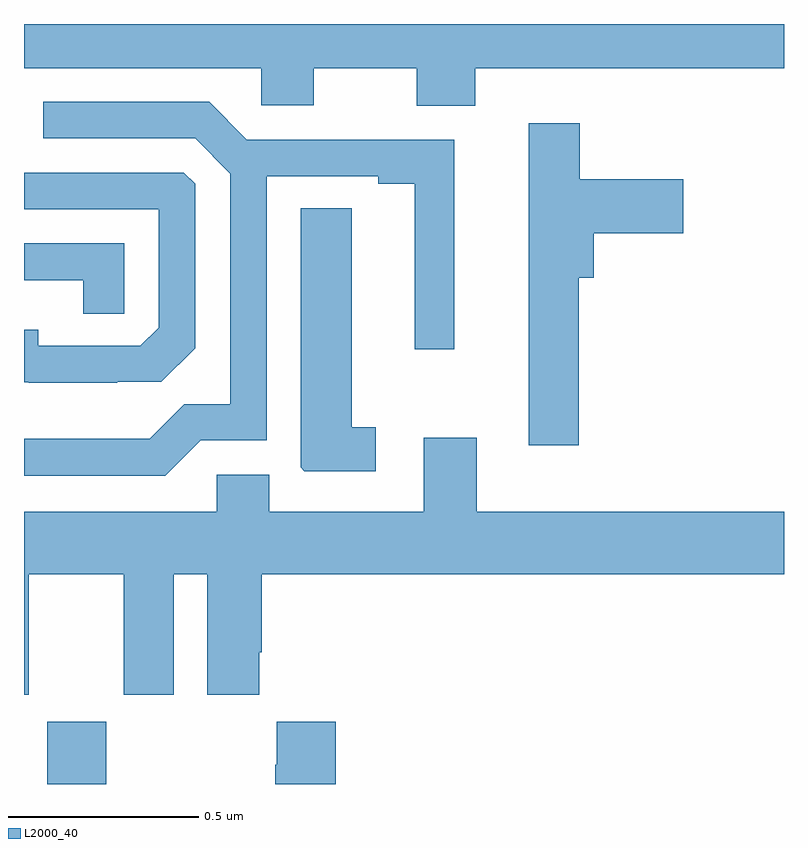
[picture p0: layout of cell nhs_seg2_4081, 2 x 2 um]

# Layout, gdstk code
import gdstk
lib = gdstk.Library(unit=1e-6, precision=1e-09)
def R(c, l, rs):  # rectangles x0, y0, x1, y1
    for r in rs: c.add(gdstk.rectangle(r[:2], r[2:], *l))
def P(c, l, *ps):  # polygons
    for p in ps: c.add(gdstk.Polygon(p, *l))
L2000_40 = (2000, 40)

nhs_seg2_4081 = lib.new_cell('nhs_seg2_4081')
R(nhs_seg2_4081, L2000_40, [(162.061,597.8,162.216,597.964)])
P(nhs_seg2_4081, L2000_40, [(163.187,599.684),(164,599.684),(164,599.8),(162,599.8),(162,599.684),(162.624,599.684),(162.624,599.586),(162.763,599.586),(162.763,599.684),(163.034,599.684),(163.034,599.585),(163.187,599.585)],
  [(162.465,598.704),(162.639,598.704),(162.639,599.4),(162.932,599.4),(162.932,599.38),(163.028,599.38),(163.028,598.944),(163.132,598.944),(163.132,599.496),(162.586,599.496),(162.487,599.595),(162.051,599.595),(162.051,599.499),(162.45,599.499),(162.543,599.406),(162.543,598.799),(162.422,598.799),(162.331,598.708),(162,598.708),(162,598.611),(162.372,598.611)],
  [(163.46,599.132),(163.499,599.132),(163.499,599.249),(163.735,599.249),(163.735,599.391),(163.463,599.391),(163.463,599.539),(163.328,599.539),(163.328,598.692),(163.46,598.692)],
  [(162.245,598.858),(162.361,598.858),(162.45,598.947),(162.45,599.379),(162.42,599.409),(162,599.409),(162,599.313),(162.354,599.313),(162.354,599.001),(162.306,598.953),(162.037,598.953),(162.037,598.996),(162,598.996),(162,598.857),(162.013,598.857),(162.013,598.856),(162.245,598.856)],
  [(162.925,598.739),(162.862,598.739),(162.862,599.315),(162.728,599.315),(162.728,598.633),(162.738,598.623),(162.925,598.623)],
  [(162.264,599.223),(162,599.223),(162,599.126),(162.156,599.126),(162.156,599.038),(162.264,599.038)],
  [(162.013,598.352),(162.263,598.352),(162.263,598.035),(162.394,598.035),(162.394,598.352),(162.482,598.352),(162.482,598.035),(162.619,598.035),(162.619,598.147),(162.626,598.147),(162.626,598.352),(164,598.352),(164,598.516),(163.192,598.516),(163.192,598.711),(163.052,598.711),(163.052,598.516),(162.646,598.516),(162.646,598.614),(162.507,598.614),(162.507,598.516),(162,598.516),(162,598.035),(162.013,598.035)],
  [(162.821,597.964),(162.665,597.964),(162.665,597.851),(162.661,597.851),(162.661,597.8),(162.821,597.8)])

lib.write_gds('nhs_seg2_4081.gds')
